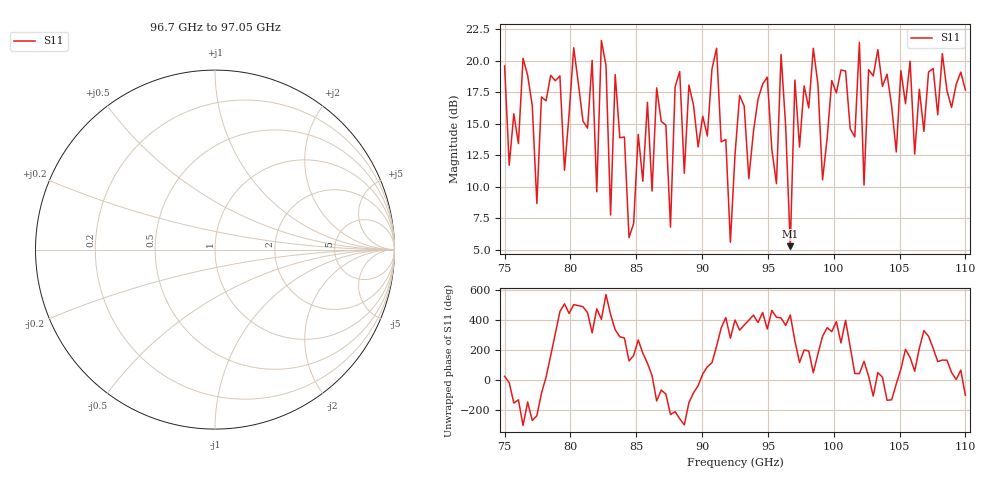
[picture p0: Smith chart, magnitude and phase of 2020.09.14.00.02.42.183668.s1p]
!Created with skrf (http://scikit-rf.org).
# GHz S RI R 50.0
!freq ReS11 ImS11
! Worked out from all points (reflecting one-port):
!   101 points, 75 GHz to 110 GHz, reference 50 ohm
!   lowest |S11| = 5.3 dB at 96.7 GHz (marker M1)
!   phase of S11 starts at 26 deg and turns -126 deg over the sweep
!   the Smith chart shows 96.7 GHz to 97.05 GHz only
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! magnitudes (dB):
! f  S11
! 75 GHz  19.6
! 75.35 GHz  11.7
! 76.4 GHz  20.2
! 77.45 GHz  8.7
! 79.55 GHz  11.3
! 80.25 GHz  21.0
! 81.65 GHz  20.0
! 82 GHz  9.6
! 82.35 GHz  21.6
! 83.05 GHz  7.7
! 83.4 GHz  18.9
! 83.75 GHz  13.9
! 84.45 GHz  6.0
! 86.55 GHz  17.8
! 87.6 GHz  6.8
! 88.3 GHz  19.1
! 88.65 GHz  11.1
! 91.1 GHz  21.0
! 92.15 GHz  5.6
! 92.5 GHz  12.5
! 94.95 GHz  18.7
! 95.65 GHz  10.2
! 96 GHz  20.5
! 96.7 GHz  5.3
! 97.05 GHz  18.4
! 101.2 GHz  14.6
! 105.8 GHz  19.9
! 110 GHz  17.7
